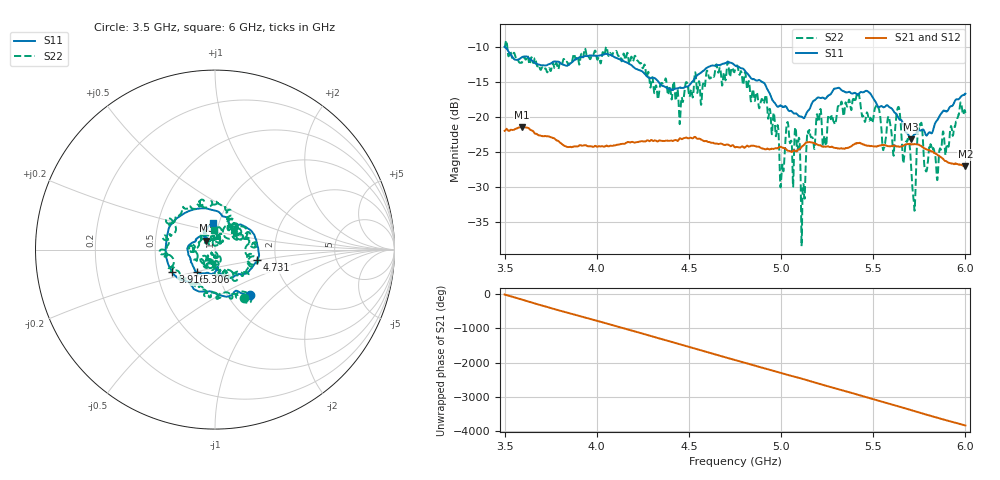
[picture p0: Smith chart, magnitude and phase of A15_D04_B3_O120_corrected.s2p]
! Created with skrf 1.9.0 (http://scikit-rf.org).
# Hz S RI R 50.0
!freq ReS11 ImS11 ReS21 ImS21 ReS12 ImS12 ReS22 ImS22
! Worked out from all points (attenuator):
!   1601 points, 3.5 GHz to 6 GHz, reference 50 ohm
!   highest |S21| = -21.40 dB at 3.592 GHz (marker M1); lowest = -27.0 dB at 6 GHz (marker M2)
!   lowest |S11| = -23.2 dB at 5.703 GHz (marker M3), VSWR 1.15, Z = 45.2 + j4.55 ohm
!   |S11| at or under -10 dB: 3.503 GHz to end of sweep
!   |S22| runs from -38.5 to -9.0 dB; largest |S21 - S12| = 0.001
!   S11 on the Smith chart (normalised r, x): 3.5 GHz: 1.26, -0.71; 3.916 GHz: 0.60, -0.16; 4.731 GHz: 1.60, -0.20; 5.306 GHz: 0.79, -0.20; 6 GHz: 0.94, +0.28
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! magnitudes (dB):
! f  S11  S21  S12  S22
! 3.5 GHz  -9.9  -22.0  -21.9  -10.1
! 3.592 GHz  -11.5  -21.4  -21.4  -12.2
! 3.916 GHz  -11.4  -24.1  -24.0  -11.0
! 3.917 GHz  -11.4  -24.1  -24.0  -10.9
! 4.334 GHz  -15.0  -23.4  -23.3  -17.2
! 4.731 GHz  -12.3  -24.1  -24.0  -13.0
! 4.75 GHz  -12.6  -24.3  -24.2  -13.3
! 4.912 GHz  -15.3  -24.6  -24.5  -17.3
! 5.003 GHz  -18.4  -24.3  -24.3  -27.8
! 5.033 GHz  -18.7  -24.8  -24.6  -20.8
! 5.088 GHz  -19.6  -24.8  -24.8  -24.9
! 5.119 GHz  -20.1  -24.1  -24.0  -29.7
! 5.147 GHz  -19.1  -23.6  -23.6  -22.2
! 5.167 GHz  -18.0  -23.6  -23.6  -22.9
! 5.306 GHz  -15.8  -24.5  -24.4  -18.8
! 5.584 GHz  -18.5  -24.2  -24.1  -19.9
! 5.638 GHz  -20.1  -24.2  -24.1  -18.5
! 5.703 GHz  -23.2  -23.9  -23.8  -26.0
! 5.72 GHz  -22.5  -23.9  -23.8  -32.1
! 5.753 GHz  -21.9  -24.1  -24.0  -21.2
! 5.845 GHz  -20.5  -25.3  -25.3  -28.7
! 6 GHz  -16.7  -27.0  -26.9  -19.4
